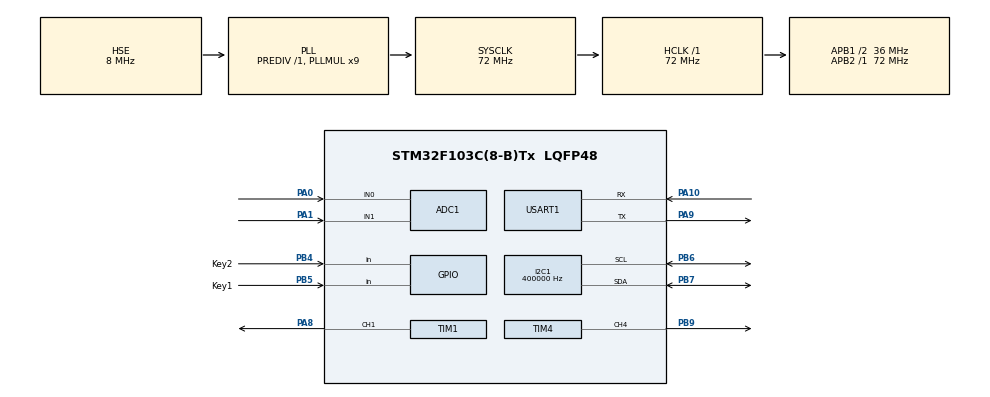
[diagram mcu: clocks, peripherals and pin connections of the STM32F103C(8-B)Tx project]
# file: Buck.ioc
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ADC1.Channel-0\#ChannelRegularConversion=ADC_CHANNEL_1
ADC1.Channel-1\#ChannelRegularConversion=ADC_CHANNEL_0
ADC1.EnableInjectedConversion=DISABLE
ADC1.ExternalTrigConv=ADC_EXTERNALTRIGCONV_T4_CC4
ADC1.NbrOfConversion=2
ADC1.NbrOfConversionFlag=1
ADC1.Rank-0\#ChannelRegularConversion=1
ADC1.Rank-1\#ChannelRegularConversion=2
ADC1.SamplingTime-0\#ChannelRegularConversion=ADC_SAMPLETIME_13CYCLES_5
ADC1.SamplingTime-1\#ChannelRegularConversion=ADC_SAMPLETIME_13CYCLES_5
ADC1.master=1
Dma.ADC1.0.Direction=DMA_PERIPH_TO_MEMORY
Dma.ADC1.0.Instance=DMA1_Channel1
Dma.ADC1.0.MemDataAlignment=DMA_MDATAALIGN_HALFWORD
Dma.ADC1.0.MemInc=DMA_MINC_ENABLE
Dma.ADC1.0.Mode=DMA_CIRCULAR
Dma.ADC1.0.PeriphDataAlignment=DMA_PDATAALIGN_HALFWORD
Dma.ADC1.0.PeriphInc=DMA_PINC_DISABLE
Dma.ADC1.0.Priority=DMA_PRIORITY_LOW
Dma.Request0=ADC1
Dma.Request1=USART1_RX
Dma.USART1_RX.1.Direction=DMA_PERIPH_TO_MEMORY
Dma.USART1_RX.1.Instance=DMA1_Channel5
Dma.USART1_RX.1.MemDataAlignment=DMA_MDATAALIGN_BYTE
Dma.USART1_RX.1.MemInc=DMA_MINC_ENABLE
Dma.USART1_RX.1.Mode=DMA_CIRCULAR
Dma.USART1_RX.1.PeriphDataAlignment=DMA_PDATAALIGN_BYTE
Dma.USART1_RX.1.PeriphInc=DMA_PINC_DISABLE
Dma.USART1_RX.1.Priority=DMA_PRIORITY_LOW
Mcu.Family=STM32F1
Mcu.Name=STM32F103C(8-B)Tx
Mcu.Package=LQFP48
NVIC.DMA1_Channel1_IRQn=true\:0\:0\:false\:false\:true\:false\:true\:true
NVIC.DMA1_Channel5_IRQn=true\:0\:0\:false\:false\:true\:false\:true\:true
NVIC.PriorityGroup=NVIC_PRIORITYGROUP_4
NVIC.USART1_IRQn=true\:0\:0\:false\:false\:true\:true\:true\:true
PA0-WKUP.Signal=ADCx_IN0
PA1.Signal=ADCx_IN1
PA10.Mode=Asynchronous
PA10.Signal=USART1_RX
PA13.Mode=Serial_Wire
PA13.Signal=SYS_JTMS-SWDIO
PA14.Mode=Serial_Wire
PA14.Signal=SYS_JTCK-SWCLK
PA8.Signal=S_TIM1_CH1
PA9.Mode=Asynchronous
PA9.Signal=USART1_TX
PB4.GPIO_Label=Key2
PB4.Signal=GPIO_Input
PB5.GPIO_Label=Key1
PB5.Signal=GPIO_Input
PB6.Mode=I2C
PB6.Signal=I2C1_SCL
PB7.Mode=I2C
PB7.Signal=I2C1_SDA
PB9.Signal=S_TIM4_CH4
PD0-OSC_IN.Mode=HSE-External-Oscillator
PD0-OSC_IN.Signal=RCC_OSC_IN
PD1-OSC_OUT.Mode=HSE-External-Oscillator
PD1-OSC_OUT.Signal=RCC_OSC_OUT
ProjectManager.HeapSize=0x200
ProjectManager.StackSize=0x400
ProjectManager.TargetToolchain=MDK-ARM V5.32
RCC.ADCPresc=RCC_ADCPCLK2_DIV6
RCC.AHBFreq_Value=72000000
RCC.APB1CLKDivider=RCC_HCLK_DIV2
RCC.APB1Freq_Value=36000000
RCC.APB1TimFreq_Value=72000000
RCC.APB2Freq_Value=72000000
RCC.APB2TimFreq_Value=72000000
RCC.HCLKFreq_Value=72000000
RCC.PLLMUL=RCC_PLL_MUL9
RCC.PLLSourceVirtual=RCC_PLLSOURCE_HSE
RCC.SYSCLKFreq_VALUE=72000000
RCC.SYSCLKSource=RCC_SYSCLKSOURCE_PLLCLK
RCC.USBFreq_Value=72000000
SH.ADCx_IN0.0=ADC1_IN0,IN0
SH.ADCx_IN1.0=ADC1_IN1,IN1
SH.S_TIM1_CH1.0=TIM1_CH1,PWM Generation1 CH1
SH.S_TIM4_CH4.0=TIM4_CH4,PWM Generation4 CH4
TIM1.Channel-PWM\ Generation1\ CH1=TIM_CHANNEL_1
TIM1.MasterOutputTrigger=TIM_TRGO_UPDATE
TIM1.Period=3599
TIM1.Prescaler=0
TIM1.RepetitionCounter=9
TIM1.TIM_MasterOutputTrigger=TIM_TRGO_UPDATE
TIM4.Channel-PWM\ Generation4\ CH4=TIM_CHANNEL_4
TIM4.Period=3599
TIM4.Prescaler=9
TIM4.TIM_MasterOutputTrigger=TIM_TRGO_RESET
TIM4.TIM_MasterSlaveMode=TIM_MASTERSLAVEMODE_DISABLE
USART1.VirtualMode=VM_ASYNC
VP_TIM1_VS_ClockSourceINT.Mode=Internal
VP_TIM4_VS_ClockSourceINT.Mode=Internal
VP_TIM4_VS_ClockSourceITR.Mode=TriggerSource_ITR0
VP_TIM4_VS_ControllerModeReset.Mode=Reset Mode
I2C1.ClockSpeed=400000
board=custom

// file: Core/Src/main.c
/* USER CODE BEGIN Header */
/**
  ******************************************************************************
  * @file           : main.c
  * @brief          : Main program body
  ******************************************************************************
  * @attention
  *
  * Copyright (c) 2026 STMicroelectronics.
  * All rights reserved.
  *
  * This software is licensed under terms that can be found in the LICENSE file
  * in the root directory of this software component.
  * If no LICENSE file comes with this software, it is provided AS-IS.
  *
  ******************************************************************************
  */
/* USER CODE END Header */
#include "main.h"
#include "adc.h"
#include "dma.h"
#include "i2c.h"
#include "tim.h"
#include "usart.h"
#include "gpio.h"

/* USER CODE BEGIN Includes */
#include "bsp_pwm.h"
#include "drv_pwm.h"
#include "app_control.h"
#include "app_key.h"
#include "app_telemetry.h"
#include "app_display.h"
#include "config.h"
#include "tim_test.h"
#include "tim_adc_calib.h"
#include "pwm_sweep.h"
#include "adc_cal_sweep.h"
#include "tune_log.h"
/* USER CODE END Includes */

void SystemClock_Config(void);

int main(void)
{

  /* MCU Configuration--------------------------------------------------------*/

  /* Reset of all peripherals, Initializes the Flash interface and the Systick. */
  HAL_Init();

  /* Configure the system clock */
  SystemClock_Config();

  /* Initialize all configured peripherals */
  MX_GPIO_Init();
  MX_DMA_Init();
  MX_TIM1_Init();
  MX_ADC1_Init();
  MX_TIM4_Init();
  MX_USART1_UART_Init();
  MX_I2C1_Init();
  /* USER CODE BEGIN 2 */
  BSP_PWM_InitPins(); // 配置PA7为TIM3驱动的PWM
  DRV_PWM_Init(); // PWM初始化
#if (CL_CTRL_ENABLE == 1)
  APP_CONTROL_Init();   // 闭环接管 CCR1（须在 ADC 启动前，避免 ISR 用到未初始化的 PID）
#else
  DRV_PWM_SetDutyCount(DRV_PWM_DUTY_CNT_50PCT); // 开环
#endif
  APP_TELEMETRY_Init();           // 1Hz 遥测打印
  APP_KEY_Init();                 /* 按键消抖初值（Key1 开关机、Key2 切 5V/12V） */
  APP_DISPLAY_Init();             /* 0.96" OLED：OUT 状态 / Vout / Iout / Set（I2C1） */
  // TEST_TIM_Init();             // 时序探针        [CL_TIMING_MEASURE]
  // TIM_ADC_CALIB_Run();         // ADC 转换时间标定 [CL_ADC_CALIB]
  // PWM_SWEEP_Init();            // 开环扫档        [CL_PWM_SWEEP]
  // ADC_CAL_SWEEP_Init();        // ADC 标定单点保持 [CL_ADC_CAL_SWEEP]
#if CL_TUNE_LOG
  TUNE_LOG_Init();             /* 调参采样 [CL_TUNE_LOG] */
#endif
  /* USER CODE END 2 */

  /* Infinite loop */
  while (1)
  {

    /* USER CODE BEGIN 3 */
    APP_TELEMETRY_Loop();
    APP_CONTROL_Loop();     // ADC 采样停更超时 → 停波
    APP_KEY_Loop();         /* 按键消抖 + 按下沿事件 */
    APP_DISPLAY_Loop();     /* OLED 10Hz 局部刷新（400kHz 下单次 ≤~12ms） */
    // PWM_SWEEP_Loop();       // [CL_PWM_SWEEP]
    // ADC_CAL_SWEEP_Loop();   // [CL_ADC_CAL_SWEEP]
    DRV_PWM_Loop();         // 内脉冲补写
#if CL_TUNE_LOG
    TUNE_LOG_Loop();     /* 调参采样 50ms [CL_TUNE_LOG] */
#endif
  }
  /* USER CODE END 3 */
}

void SystemClock_Config(void)
{
  RCC_OscInitTypeDef RCC_OscInitStruct = {0};
  RCC_ClkInitTypeDef RCC_ClkInitStruct = {0};
  RCC_PeriphCLKInitTypeDef PeriphClkInit = {0};

  /** Initializes the RCC Oscillators according to the specified parameters
  * in the RCC_OscInitTypeDef structure.
  */
  RCC_OscInitStruct.OscillatorType = RCC_OSCILLATORTYPE_HSE;
  RCC_OscInitStruct.HSEState = RCC_HSE_ON;
  RCC_OscInitStruct.HSEPredivValue = RCC_HSE_PREDIV_DIV1;
  RCC_OscInitStruct.HSIState = RCC_HSI_ON;
  RCC_OscInitStruct.PLL.PLLState = RCC_PLL_ON;
  RCC_OscInitStruct.PLL.PLLSource = RCC_PLLSOURCE_HSE;
  RCC_OscInitStruct.PLL.PLLMUL = RCC_PLL_MUL9;
  if (HAL_RCC_OscConfig(&RCC_OscInitStruct) != HAL_OK)
  {
    Error_Handler();
  }

  /** Initializes the CPU, AHB and APB buses clocks
  */
  RCC_ClkInitStruct.ClockType = RCC_CLOCKTYPE_HCLK|RCC_CLOCKTYPE_SYSCLK
                              |RCC_CLOCKTYPE_PCLK1|RCC_CLOCKTYPE_PCLK2;
  RCC_ClkInitStruct.SYSCLKSource = RCC_SYSCLKSOURCE_PLLCLK;
  RCC_ClkInitStruct.AHBCLKDivider = RCC_SYSCLK_DIV1;
  RCC_ClkInitStruct.APB1CLKDivider = RCC_HCLK_DIV2;
  RCC_ClkInitStruct.APB2CLKDivider = RCC_HCLK_DIV1;

  if (HAL_RCC_ClockConfig(&RCC_ClkInitStruct, FLASH_LATENCY_2) != HAL_OK)
  {
    Error_Handler();
  }
  PeriphClkInit.PeriphClockSelection = RCC_PERIPHCLK_ADC;
  PeriphClkInit.AdcClockSelection = RCC_ADCPCLK2_DIV6;
  if (HAL_RCCEx_PeriphCLKConfig(&PeriphClkInit) != HAL_OK)
  {
    Error_Handler();
  }
}

void Error_Handler(void)
{
  __disable_irq();
  while (1)
  {
  }
}
